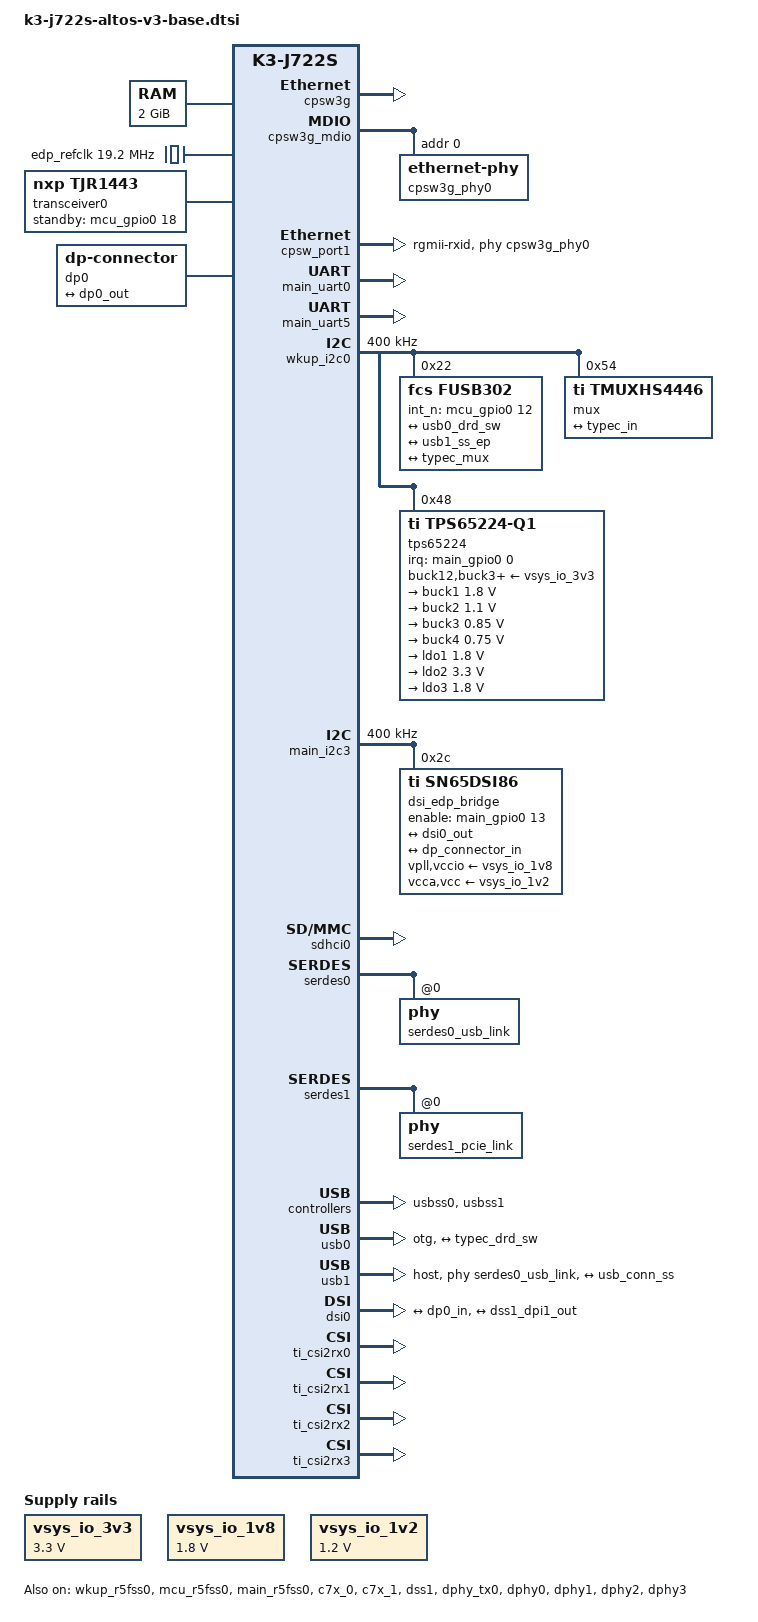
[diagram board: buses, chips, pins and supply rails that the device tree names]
// SPDX-License-Identifier: GPL-2.0-only OR MIT
/*
 * Device Tree file for Altos V3
 * Copyright (C) 2024 Texas Instruments Incorporated - https://www.ti.com/
 * Copyright (C) 2025 Altos Radar
 */

/dts-v1/;

#include <dt-bindings/net/ti-dp83867.h>
#include <dt-bindings/phy/phy.h>
#include <dt-bindings/usb/pd.h>
#include "k3-j722s.dtsi"
#include "k3-serdes.h"

/ {
	compatible = "ti,j722s-evm", "ti,j722s";

	aliases {
		serial0 = &wkup_uart0;
		serial1 = &main_uart0;
		serial2 = &main_uart5;
		mmc0 = &sdhci0;
	};

	chosen {
		stdout-path = &main_uart5;
	};

	memory@80000000 {
		/* 2G RAM */
		reg = <0x00000000 0x80000000 0x00000000 0x80000000>;
		device_type = "memory";
		bootph-all;
	};

	reserved_memory: reserved-memory {
		#address-cells = <2>;
		#size-cells = <2>;
		ranges;

		/* global cma region */
		linux,cma {
			compatible = "shared-dma-pool";
			reusable;
			size = <0x00 0x10000000>;
			linux,cma-default;
		};

		secure_tfa_ddr: tfa@9e780000 {
			reg = <0x00 0x9e780000 0x00 0x80000>;
			no-map;
		};

		secure_ddr: optee@9e800000 {
			reg = <0x00 0x9e800000 0x00 0x01800000>;
			no-map;
		};

		wkup_r5fss0_core0_dma_memory_region: r5f-dma-memory@a0000000 {
			compatible = "shared-dma-pool";
			reg = <0x00 0xa0000000 0x00 0x100000>;
			no-map;
		};

		wkup_r5fss0_core0_memory_region: r5f-memory@a0100000 {
			compatible = "shared-dma-pool";
			reg = <0x00 0xa0100000 0x00 0xf00000>;
			no-map;
		};

		mcu_r5fss0_core0_dma_memory_region: mcu-r5fss-dma-memory-region@a1000000 {
			compatible = "shared-dma-pool";
			reg = <0x00 0xa1000000 0x00 0x100000>;
			no-map;
		};

		mcu_r5fss0_core0_memory_region: mcu-r5fss-memory-region@a1100000 {
			compatible = "shared-dma-pool";
			reg = <0x00 0xa1100000 0x00 0xf00000>;
			no-map;
		};

		main_r5fss0_core0_dma_memory_region: main-r5fss-dma-memory-region@a2000000 {
			compatible = "shared-dma-pool";
			reg = <0x00 0xa2000000 0x00 0x100000>;
			no-map;
		};

		main_r5fss0_core0_memory_region: main-r5fss-memory-region@a2100000 {
			compatible = "shared-dma-pool";
			reg = <0x00 0xa2100000 0x00 0xf00000>;
			no-map;
		};

		c7x_0_dma_memory_region: c7x-dma-memory@a3000000 {
			compatible = "shared-dma-pool";
			reg = <0x00 0xa3000000 0x00 0x100000>;
			no-map;
		};

		c7x_0_memory_region: c7x-memory@a3100000 {
			compatible = "shared-dma-pool";
			reg = <0x00 0xa3100000 0x00 0xf00000>;
			no-map;
		};

		c7x_1_dma_memory_region: c7x-dma-memory@a4000000 {
			compatible = "shared-dma-pool";
			reg = <0x00 0xa4000000 0x00 0x100000>;
			no-map;
		};

		c7x_1_memory_region: c7x-memory@a4100000 {
			compatible = "shared-dma-pool";
			reg = <0x00 0xa4100000 0x00 0xf00000>;
			no-map;
		};

		rtos_ipc_memory_region: ipc-memories@a5000000 {
			reg = <0x00 0xa5000000 0x00 0x1c00000>;
			alignment = <0x1000>;
			no-map;
		};
	};

	vsys_io_3v3: regulator-vsys-io-3v3 {
		compatible = "regulator-fixed";
		regulator-name = "vsys_io_3v3";
		regulator-min-microvolt = <3300000>;
		regulator-max-microvolt = <3300000>;
		regulator-always-on;
		regulator-boot-on;
	};

	vsys_io_1v8: regulator-vsys-io-1v8 {
		compatible = "regulator-fixed";
		regulator-name = "vsys_io_1v8";
		regulator-min-microvolt = <1800000>;
		regulator-max-microvolt = <1800000>;
		regulator-always-on;
		regulator-boot-on;
	};

	vsys_io_1v2: regulator-vsys-io-1v2 {
		compatible = "regulator-fixed";
		regulator-name = "vsys_io_1v2";
		regulator-min-microvolt = <1200000>;
		regulator-max-microvolt = <1200000>;
		regulator-always-on;
		regulator-boot-on;
	};

	edp_refclk: clock-edp1-refclk {
		#clock-cells = <0>;
		compatible = "fixed-clock";
		clock-frequency = <19200000>;
	};

	transceiver0: can-phy0 {
		compatible = "nxp,tjr1443";
		#phy-cells = <0>;
		max-bitrate = <5000000>;
		pinctrl-names = "default";
		pinctrl-0 = <&mcu_mcan0_gpio_pins_default>;
		standby-gpios = <&mcu_gpio0 18 GPIO_ACTIVE_HIGH>;
	};

	dp_conn: connector {
		compatible = "dp-connector";
		label = "dp0";
		type = "full-size";

		port {
			dp_connector_in: endpoint {
				remote-endpoint = <&dp0_out>;
			};
		};
	};
};

&main_pmx0 {
	/delete-property/ interrupts;
	main_i2c3_pins_default: main-i2c3-default-pins {
		pinctrl-single,pins = <
			J722S_IOPAD(0x0118, PIN_INPUT_PULLUP, 6) /* (H26) MMC2_CLK.I2C3_SCL */
			J722S_IOPAD(0x0120, PIN_INPUT_PULLUP, 6) /* (F27) MMC2_CMD.I2C3_SDA */
		>;
	};

	main_uart0_pins_default: main-uart0-default-pins {
		pinctrl-single,pins = <
			J722S_IOPAD(0x01c8, PIN_INPUT_PULLUP, 0)	/* (F19) UART0_RXD */
			J722S_IOPAD(0x01cc, PIN_OUTPUT, 0)		/* (F20) UART0_TXD */
		>;
		bootph-all;
	};

	main_uart5_pins_default: main-uart5-default-pins {
		pinctrl-single,pins = <
			J722S_IOPAD(0x01d8, PIN_INPUT_PULLUP, 1)	/* (D22) MCAN0_TX.UART5_RXD */
			J722S_IOPAD(0x01dc, PIN_OUTPUT, 1)		/* (C22) MCAN0_RX.UART5_TXD */
		>;
	};

	mdio_pins_default: mdio-default-pins {
		pinctrl-single,pins = <
			J722S_IOPAD(0x0160, PIN_OUTPUT, 0) /* (AC24) MDIO0_MDC */
			J722S_IOPAD(0x015c, PIN_INPUT, 0) /* (AD25) MDIO0_MDIO */
		>;
	};

	rgmii1_pins_default: rgmii1-default-pins {
		pinctrl-single,pins = <
			J722S_IOPAD(0x014c, PIN_INPUT, 0) /* (AC25) RGMII1_RD0 */
			J722S_IOPAD(0x0150, PIN_INPUT, 0) /* (AD27) RGMII1_RD1 */
			J722S_IOPAD(0x0154, PIN_INPUT, 0) /* (AE24) RGMII1_RD2 */
			J722S_IOPAD(0x0158, PIN_INPUT, 0) /* (AE26) RGMII1_RD3 */
			J722S_IOPAD(0x0148, PIN_INPUT, 0) /* (AE27) RGMII1_RXC */
			J722S_IOPAD(0x0144, PIN_INPUT, 0) /* (AD23) RGMII1_RX_CTL */
			J722S_IOPAD(0x0134, PIN_OUTPUT, 0) /* (AF27) RGMII1_TD0 */
			J722S_IOPAD(0x0138, PIN_OUTPUT, 0) /* (AE23) RGMII1_TD1 */
			J722S_IOPAD(0x013c, PIN_OUTPUT, 0) /* (AG25) RGMII1_TD2 */
			J722S_IOPAD(0x0140, PIN_OUTPUT, 0) /* (AF24) RGMII1_TD3 */
			J722S_IOPAD(0x0130, PIN_OUTPUT, 0) /* (AG26) RGMII1_TXC */
			J722S_IOPAD(0x012c, PIN_OUTPUT, 0) /* (AF25) RGMII1_TX_CTL */
		>;
	};

	main_usb0_pins_default: main-usb0-default-pins {
		pinctrl-single,pins = <
			J722S_IOPAD(0x0254, PIN_INPUT_PULLDOWN, 7) /* (E25) USB0_DRVVBUS */
		>;
	};

	dsi_edp_bridge_pins_default: dsi-edp-bridge-defaultpins {
		pinctrl-single,pins = <
			J722S_IOPAD(0x0034, PIN_OUTPUT, 7) /* (K22) OSPI0_CSn2.GPIO0_13 */
			J722S_IOPAD(0x0038, PIN_INPUT, 7) /* (J22) OSPI0_CSn3.GPIO0_14 */
		>;
	};

	pmic_irq_pins_default: pmic-irq-default-pins {
		pinctrl-single,pins = <
			J722S_IOPAD(0x030, PIN_INPUT, 7) /* (K23) GPIO0_12 */
		>;
	};
};

&cpsw3g {
	status = "okay";
	pinctrl-names = "default";
	pinctrl-0 = <&rgmii1_pins_default>;
};

&cpsw3g_mdio {
	status = "okay";
	pinctrl-names = "default";
	pinctrl-0 = <&mdio_pins_default>;
	assigned-clocks = <&k3_clks 226 0>;
	assigned-clock-parents = <&k3_clks 226 7>;

	cpsw3g_phy0: ethernet-phy@0 {
		reg = <0x00>;
		ti,rx-internal-delay = <DP83867_RGMIIDCTL_2_00_NS>;
		ti,fifo-depth = <DP83867_PHYCR_FIFO_DEPTH_4_B_NIB>;
		ti,min-output-impedance;
	};
};

&cpsw_port1 {
	status = "okay";
	phy-mode = "rgmii-rxid";
	phy-handle = <&cpsw3g_phy0>;
};

&main_gpio1 {
	status = "okay";
};

&main_uart0 {
	pinctrl-names = "default";
	pinctrl-0 = <&main_uart0_pins_default>;
	status = "okay";
};

&main_uart5 {
	pinctrl-names = "default";
	pinctrl-0 = <&main_uart5_pins_default>;
	status = "okay";
	bootph-all;
};

&mcu_pmx0 {
	wkup_uart0_pins_default: wkup-uart0-default-pins {
		pinctrl-single,pins = <
			J722S_MCU_IOPAD(0x02c, PIN_INPUT, 0)	/* (C7) WKUP_UART0_CTSn */
			J722S_MCU_IOPAD(0x030, PIN_OUTPUT, 0)	/* (C6) WKUP_UART0_RTSn */
			J722S_MCU_IOPAD(0x024, PIN_INPUT, 0)	/* (D8) WKUP_UART0_RXD */
			J722S_MCU_IOPAD(0x028, PIN_OUTPUT, 0)	/* (D7) WKUP_UART0_TXD */
		>;
		bootph-all;
	};

	wkup_i2c0_pins_default: wkup-i2c0-default-pins {
		pinctrl-single,pins = <
			J722S_MCU_IOPAD(0x04c, PIN_INPUT_PULLUP, 0)	/* (B9) WKUP_I2C0_SCL */
			J722S_MCU_IOPAD(0x050, PIN_INPUT_PULLUP, 0)	/* (D11) WKUP_I2C0_SDA */
		>;
		bootph-all;
	};

	mcu_mcan0_pins_default: mcu-mcan0-default-pins {
		pinctrl-single,pins = <
			J722S_MCU_IOPAD(0x038, PIN_INPUT, 0) /* (D8) MCU_MCAN0_RX */
			J722S_MCU_IOPAD(0x034, PIN_OUTPUT, 0) /* (B2) MCU_MCAN0_TX */
		>;
	};

	mcu_mcan0_gpio_pins_default: mcu-mcan0-gpio-default-pins {
		pinctrl-single,pins = <
			J722S_MCU_IOPAD(0x0048, PIN_OUTPUT, 7) /* (E11) MCU_I2C0_SDA.MCU_GPIO0_18 */
		>;
	};

	fusb302_cc_int: fusb302-cc-int {
		pinctrl-single,pins = <
			J722S_MCU_IOPAD(0x0030, PIN_INPUT_PULLUP, 7) /* (C3) WKUP_UART0_RTSn.MCU_GPIO0_12 */
		>;
	};
};

&wkup_uart0 {
	/* WKUP UART0 is used by Device Manager firmware */
	pinctrl-names = "default";
	pinctrl-0 = <&wkup_uart0_pins_default>;
	status = "reserved";
	bootph-all;
};

&wkup_i2c0 {
	pinctrl-names = "default";
	pinctrl-0 = <&wkup_i2c0_pins_default>;
	clock-frequency = <400000>;
	status = "okay";
	bootph-all;

	fusb302@22 {
		compatible = "fcs,fusb302";
		reg = <0x22>;
		pinctrl-names = "default";
		pinctrl-0 = <&fusb302_cc_int>;
		fcs,int_n-gpios = <&mcu_gpio0 12 GPIO_ACTIVE_HIGH>;

		port {
			typec_drd_sw: endpoint {
				remote-endpoint = <&usb0_drd_sw>;
			};
		};

		typec_conn: connector {
			compatible = "usb-c-connector";
			label = "USB-C";
			power-role = "sink";
			data-role = "dual";
			op-sink-microwatt = <27000000>;
			sink-pdos = <
				PDO_FIXED(5000, 3000, PDO_FIXED_USB_COMM | PDO_FIXED_DATA_SWAP)
				PDO_FIXED(20000, 3000,
					PDO_FIXED_HIGHER_CAP |
					PDO_FIXED_USB_COMM |
					PDO_FIXED_DATA_SWAP)
				PDO_VAR(9000, 20000, 3000)>;
			displayport = <&dss1>;

			altmodes {
				displayport {
					svid = /bits/ 16 <0xff01>;
					vdo = <0x00001C46>;
				};
			};

			ports {
				#address-cells = <1>;
				#size-cells = <0>;

				port@1 {
					reg = <1>;
					usb_conn_ss: endpoint {
						remote-endpoint = <&usb1_ss_ep>;
					};
				};

				port@2 {
					reg = <2>;
					typec_in: endpoint {
						remote-endpoint = <&typec_mux>;
					};
				};
			};
		};
	};

	mux@54 {
		compatible = "ti,tmuxhs4446";
		reg = <0x54>;
		mode-switch;
		orientation-switch;
		port {
			typec_mux: endpoint {
				remote-endpoint = <&typec_in>;
			};
		};
	};

	tps65224: pmic@48 {
		compatible = "ti,tps65224-q1";
		reg = <0x48>;
		pinctrl-names = "default";
		pinctrl-0 = <&pmic_irq_pins_default>;
		interrupt-parent = <&main_gpio0>;
		interrupts = <0 IRQ_TYPE_EDGE_FALLING>;
		ti,primary-pmic;

		gpio-controller;
		#gpio-cells = <2>;

		buck12-supply = <&vsys_io_3v3>;
		buck3-supply = <&vsys_io_3v3>;
		buck4-supply = <&vsys_io_3v3>;

		ldo1-supply = <&vsys_io_3v3>;
		ldo2-supply = <&vsys_io_3v3>;
		ldo3-supply = <&vsys_io_3v3>;

		regulators {

			buck1: buck1 {
				regulator-name = "vcc1v8_io_buck1";
				regulator-min-microvolt = <1800000>;
				regulator-max-microvolt = <1800000>;
				regulator-boot-on;
				regulator-always-on;
				bootph-all;
			};

			buck2: buck2 {
				regulator-name = "vcc1v1_ddr_buck2";
				regulator-min-microvolt = <1100000>;
				regulator-max-microvolt = <1100000>;
				regulator-boot-on;
				regulator-always-on;
			};

			buck3: buck3 {
				regulator-name = "vcc0v85_ram_buck3";
				regulator-min-microvolt = <850000>;
				regulator-max-microvolt = <850000>;
				regulator-boot-on;
				regulator-always-on;
			};

			buck4: buck4 {
				regulator-name = "vcc0v75_ioret_buck4";
				regulator-min-microvolt = <750000>;
				regulator-max-microvolt = <750000>;
				regulator-boot-on;
				regulator-always-on;
			};

			ldo1: ldo1 {
				regulator-name = "vdda1v8_pll_ldo1";
				regulator-min-microvolt = <1800000>;
				regulator-max-microvolt = <1800000>;
				regulator-boot-on;
				regulator-always-on;
			};

			ldo2: ldo2 {
				regulator-name = "dvdd3v3_ldo2";
				regulator-min-microvolt = <3300000>;
				regulator-max-microvolt = <3300000>;
				regulator-boot-on;
				regulator-always-on;
			};

			ldo3: ldo3 {
				regulator-name = "vdd1v85_phy_ldo3";
				regulator-min-microvolt = <1800000>;
				regulator-max-microvolt = <1800000>;
				regulator-boot-on;
				regulator-always-on;
			};
	       };
	};
};

&main_i2c3 {
	status = "okay";
	pinctrl-names = "default";
	pinctrl-0 = <&main_i2c3_pins_default>;
	clock-frequency = <400000>;

	dsi_edp_bridge: dsi-edp-bridge@2c {
		compatible = "ti,sn65dsi86";
		reg = <0x2c>;
		no-hpd;

		clock-names = "refclk";
		clocks = <&edp_refclk>;

		pinctrl-names = "default";
		pinctrl-0 = <&dsi_edp_bridge_pins_default>;

		enable-gpios = <&main_gpio0 13 GPIO_ACTIVE_HIGH>;

		vpll-supply = <&vsys_io_1v8>;
		vccio-supply = <&vsys_io_1v8>;
		vcca-supply = <&vsys_io_1v2>;
		vcc-supply = <&vsys_io_1v2>;

		aux-bus {
		};

		dsi_edp_bridge_ports: ports {
			#address-cells = <1>;
			#size-cells = <0>;
			port@0 {
				reg = <0>;
				dp0_in: endpoint {
					remote-endpoint = <&dsi0_out>;
				};
			};
			port@1 {
				reg = <1>;
				dp0_out: endpoint {
					remote-endpoint = <&dp_connector_in>;
				};
			};
		};
	};
};

&sdhci0 {
	disable-wp;
	bootph-all;
	ti,driver-strength-ohm = <50>;
	status = "okay";
};

&mailbox0_cluster0 {
	status = "okay";
	mbox_r5_0: mbox-r5-0 {
		ti,mbox-rx = <0 0 0>;
		ti,mbox-tx = <1 0 0>;
	};
};

&mailbox0_cluster1 {
	status = "okay";
	mbox_mcu_r5_0: mbox-mcu-r5-0 {
		ti,mbox-rx = <0 0 0>;
		ti,mbox-tx = <1 0 0>;
	};
};

&mailbox0_cluster2 {
	status = "okay";
	mbox_c7x_0: mbox-c7x-0 {
		ti,mbox-rx = <0 0 0>;
		ti,mbox-tx = <1 0 0>;
	};
};

&mailbox0_cluster3 {
	status = "okay";
	mbox_main_r5_0: mbox-main-r5-0 {
		ti,mbox-rx = <0 0 0>;
		ti,mbox-tx = <1 0 0>;
	};

	mbox_c7x_1: mbox-c7x-1 {
		ti,mbox-rx = <2 0 0>;
		ti,mbox-tx = <3 0 0>;
	};
};

&main_timer0 {
	status = "reserved";
};

&main_timer1 {
	status = "reserved";
};

&main_timer4 {
	status = "reserved";
};

&wkup_r5fss0 {
	status = "okay";
};

&wkup_r5fss0_core0 {
	mboxes = <&mailbox0_cluster0 &mbox_r5_0>;
	memory-region = <&wkup_r5fss0_core0_dma_memory_region>,
			<&wkup_r5fss0_core0_memory_region>;
};

&mcu_r5fss0 {
	status = "okay";
};

&mcu_r5fss0_core0 {
	mboxes = <&mailbox0_cluster1 &mbox_mcu_r5_0>;
	memory-region = <&mcu_r5fss0_core0_dma_memory_region>,
			<&mcu_r5fss0_core0_memory_region>;
};

&main_r5fss0 {
	status = "okay";
};

&main_r5fss0_core0 {
	mboxes = <&mailbox0_cluster3 &mbox_main_r5_0>;
	memory-region = <&main_r5fss0_core0_dma_memory_region>,
			<&main_r5fss0_core0_memory_region>;
};

&c7x_0 {
	status = "okay";
	mboxes = <&mailbox0_cluster2 &mbox_c7x_0>;
	memory-region = <&c7x_0_dma_memory_region>,
			<&c7x_0_memory_region>;
};

&c7x_1 {
	status = "okay";
	mboxes = <&mailbox0_cluster3 &mbox_c7x_1>;
	memory-region = <&c7x_1_dma_memory_region>,
			<&c7x_1_memory_region>;
};

&serdes_ln_ctrl {
	idle-states = <J722S_SERDES0_LANE0_USB>,
		      <J722S_SERDES1_LANE0_PCIE0_LANE0>;
};

&serdes0 {
	status = "okay";
	serdes0_usb_link: phy@0 {
		reg = <0>;
		cdns,num-lanes = <1>;
		#phy-cells = <0>;
		cdns,phy-type = <PHY_TYPE_USB3>;
		resets = <&serdes_wiz0 1>;
	};
};

&serdes1 {
	serdes1_pcie_link: phy@0 {
		reg = <0>;
		cdns,num-lanes = <1>;
		#phy-cells = <0>;
		cdns,phy-type = <PHY_TYPE_PCIE>;
		resets = <&serdes_wiz1 1>;
	};
};

&usbss0 {
	pinctrl-names = "default";
	pinctrl-0 = <&main_usb0_pins_default>;
	ti,vbus-divider;
	status = "okay";
};

&usb0 {
	dr_mode = "otg";
	usb-role-switch;

	ports {
		#address-cells = <1>;
		#size-cells = <0>;
		port@0 {
			reg = <0>;
			usb0_drd_sw: endpoint {
				remote-endpoint = <&typec_drd_sw>;
			};
		};
	};
};

&usbss1 {
	status = "okay";
};

&usb1 {
	dr_mode = "host";
	maximum-speed = "super-speed";
	phys = <&serdes0_usb_link>;
	phy-names = "cdns3,usb3-phy";

	ports {
		#address-cells = <1>;
		#size-cells = <0>;
		port@0 {
			reg = <0>;
			usb1_ss_ep: endpoint {
				remote-endpoint = <&usb_conn_ss>;
			};
		};
	};
};

&dsi0 {
	status = "okay";

	ports {
		#address-cells = <1>;
		#size-cells = <0>;
		port@0 {
			reg = <0>;

			dsi0_out: endpoint {
				remote-endpoint = <&dp0_in>;
			};
		};
		port@1 {
			reg = <1>;

			dsi0_in: endpoint {
				remote-endpoint = <&dss1_dpi1_out>;
			};
		};
	};
};

&dss1 {
	status = "okay";

	clocks = <&k3_clks 232 8>,
		 <&k3_clks 232 0>,
		 <&k3_clks 232 4>;

	assigned-clocks = <&k3_clks 241 0>,	/* DSS1-VP0 */
			  <&k3_clks 240 0>,	/* DSS1-VP1 */
			  <&k3_clks 245 0>;	/* DPI Output */

	assigned-clock-parents = <&k3_clks 241 2>,	/* PLL 17 HDMI */
				 <&k3_clks 240 1>,	/* PLL 18 DSI */
				 <&k3_clks 245 2>;	/* DSS1-DPI0 */
};

&dss1_ports {
	/* DSS1-VP1: DSI Output */
	port@1 {
		reg = <1>;

		dss1_dpi1_out: endpoint {
			remote-endpoint = <&dsi0_in>;
		};
	};
};

&dphy_tx0 {
	status = "okay";
};

&mcu_gpio0 {
	status = "okay";
};

&ti_csi2rx0 {
	status = "okay";
};

&ti_csi2rx1 {
	status = "okay";
};

&ti_csi2rx2 {
	status = "okay";
};

&ti_csi2rx3 {
	status = "okay";
};

&dphy0 {
	status = "okay";
};

&dphy1 {
	status = "okay";
};

&dphy2 {
	status = "okay";
};

&dphy3 {
	status = "okay";
};
